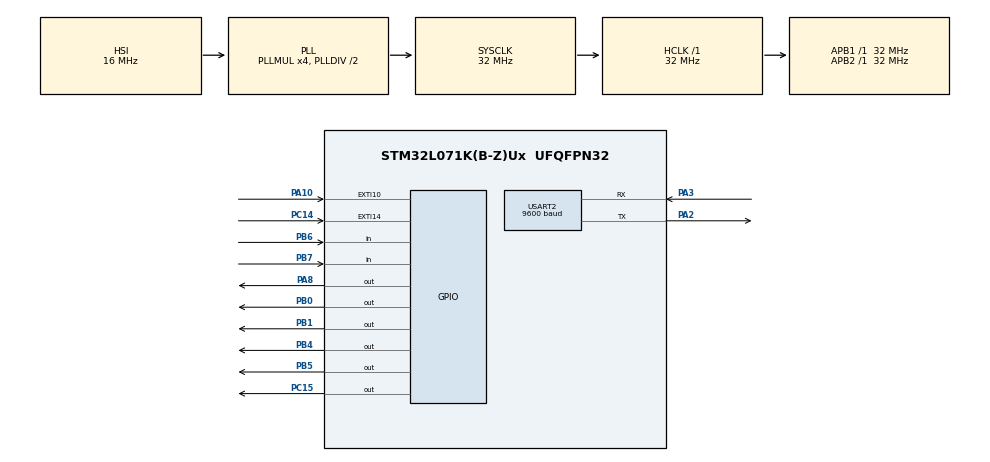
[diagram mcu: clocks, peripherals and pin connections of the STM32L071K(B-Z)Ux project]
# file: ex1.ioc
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Dma.MEMTOMEM.0.Direction=DMA_MEMORY_TO_MEMORY
Dma.MEMTOMEM.0.Instance=DMA1_Channel1
Dma.MEMTOMEM.0.MemDataAlignment=DMA_MDATAALIGN_BYTE
Dma.MEMTOMEM.0.MemInc=DMA_MINC_ENABLE
Dma.MEMTOMEM.0.Mode=DMA_NORMAL
Dma.MEMTOMEM.0.PeriphDataAlignment=DMA_PDATAALIGN_BYTE
Dma.MEMTOMEM.0.PeriphInc=DMA_PINC_ENABLE
Dma.MEMTOMEM.0.Priority=DMA_PRIORITY_LOW
Dma.Request0=MEMTOMEM
Dma.Request1=USART2_RX
Dma.USART2_RX.1.Direction=DMA_PERIPH_TO_MEMORY
Dma.USART2_RX.1.Instance=DMA1_Channel5
Dma.USART2_RX.1.MemDataAlignment=DMA_MDATAALIGN_BYTE
Dma.USART2_RX.1.MemInc=DMA_MINC_ENABLE
Dma.USART2_RX.1.Mode=DMA_CIRCULAR
Dma.USART2_RX.1.PeriphDataAlignment=DMA_PDATAALIGN_BYTE
Dma.USART2_RX.1.PeriphInc=DMA_PINC_DISABLE
Dma.USART2_RX.1.Priority=DMA_PRIORITY_LOW
Mcu.Family=STM32L0
Mcu.Name=STM32L071K(B-Z)Ux
Mcu.Package=UFQFPN32
NVIC.DMA1_Channel1_IRQn=true\:0\:0\:false\:false\:true\:true\:true
NVIC.DMA1_Channel4_5_6_7_IRQn=true\:0\:0\:false\:false\:true\:false\:true
NVIC.EXTI4_15_IRQn=true\:0\:0\:false\:false\:true\:true\:true
NVIC.TIM6_IRQn=true\:0\:0\:false\:false\:true\:true\:true
NVIC.USART2_IRQn=true\:0\:0\:false\:false\:true\:true\:true
PA10.Signal=GPXTI10
PA13.Mode=Serial_Wire
PA13.Signal=SYS_SWDIO
PA14.Mode=Serial_Wire
PA14.Signal=SYS_SWCLK
PA2.Mode=Asynchronous
PA2.Signal=USART2_TX
PA3.Mode=Asynchronous
PA3.Signal=USART2_RX
PA8.GPIO_PuPd=GPIO_PULLDOWN
PA8.Signal=GPIO_Output
PB0.GPIO_PuPd=GPIO_PULLDOWN
PB0.Signal=GPIO_Output
PB1.GPIO_ModeDefaultOutputPP=GPIO_MODE_OUTPUT_PP
PB1.GPIO_PuPd=GPIO_PULLDOWN
PB1.Signal=GPIO_Output
PB4.Signal=GPIO_Output
PB5.Signal=GPIO_Output
PB6.GPIO_PuPd=GPIO_PULLDOWN
PB6.Signal=GPIO_Input
PB7.GPIO_PuPd=GPIO_PULLDOWN
PB7.Signal=GPIO_Input
PC14-OSC32_IN.Signal=GPXTI14
PC15-OSC32_OUT.Signal=GPIO_Output
ProjectManager.HeapSize=0x200
ProjectManager.StackSize=0x400
ProjectManager.TargetToolchain=MDK-ARM V5
RCC.AHBFreq_Value=32000000
RCC.APB1Freq_Value=32000000
RCC.APB1TimFreq_Value=32000000
RCC.APB2Freq_Value=32000000
RCC.APB2TimFreq_Value=32000000
RCC.HCLKFreq_Value=32000000
RCC.HSI16_VALUE=16000000
RCC.HSI_VALUE=16000000
RCC.LSE_VALUE=32768
RCC.MSI_VALUE=2097000
RCC.PLLMUL=RCC_PLLMUL_4
RCC.SYSCLKFreq_VALUE=32000000
RCC.SYSCLKSource=RCC_SYSCLKSOURCE_PLLCLK
RCC.VCOOutputFreq_Value=64000000
RTC.SynchPrediv=307
TIM6.Period=999
TIM6.Prescaler=31
USART2.BaudRate=9600
USART2.VirtualMode-Asynchronous=VM_ASYNC
VP_CRC_VS_CRC.Mode=CRC_Activate
VP_RTC_VS_RTC_Activate.Mode=RTC_Enabled
VP_RTC_VS_RTC_Calendar.Mode=RTC_Calendar
VP_TIM6_VS_ClockSourceINT.Mode=Enable_Timer
board=custom

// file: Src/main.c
/* USER CODE BEGIN Header */
/**
  ******************************************************************************
  * @file           : main.c
  * @brief          : Main program body
  ******************************************************************************
  * @attention
  *
  * <h2><center>&copy; Copyright (c) 2019 STMicroelectronics.
  * All rights reserved.</center></h2>
  *
  * This software component is licensed by ST under BSD 3-Clause license,
  * the "License"; You may not use this file except in compliance with the
  * License. You may obtain a copy of the License at:
  *                        opensource.org/licenses/BSD-3-Clause
  *
  ******************************************************************************
  */
/* USER CODE END Header */

#include "main.h"
#include "crc.h"
#include "dma.h"
#include "rtc.h"
#include "tim.h"
#include "usart.h"
#include "gpio.h"

/* USER CODE BEGIN Includes */
#include "stm32l0xx_hal.h"
#include "zm4xx_gpio.h"
#include "spi.h"
#include "timer.h"
#include "stddef.h"
#include "sx127x_lora.h"
#include "key.h"
/* USER CODE END Includes */

/* USER CODE BEGIN PTD */
#define FREQ  (433000000)
void SystemClock_Config(void);
void Hardware_Init(void);
radio_handle_t  handle;
int ret = RADIO_RET_OK;

	uint16_t len = 0;
	uint8_t rx[200];
	uint8_t tx = 0x55;
	uint8_t cntr = 0;
	unsigned int time_100ms=1,time_500ms=1;
	unsigned int lora_flag=2,send_allow=1;
	char lcdLine_1st_line[16];
  char lcdLine_2st_line[16];
	unsigned int x1=0,x2=0;
/* USER CODE END PTD */

/* USER CODE BEGIN PD */
//ret = radio_buf_recv(handle, &rx, &len);
//			if(ret == RADIO_RET_OK){
//				if(rx == 0xAA){
//						HAL_GPIO_TogglePin(GPIOC, GPIO_PIN_15);
//				}
//			}
//
//			if(++cntr == 40){
//				radio_buf_send(handle, &tx, 1); 	//
//				radio_mode_set(handle, RX_MODE);
//				cntr = 0;
//			}
/* USER CODE END PD */

void SystemClock_Config(void);

/* USER CODE BEGIN 0 */
void Task_BrdInit(void)
{
    HAL_GPIO_WritePin(GPIOC, GPIO_PIN_15, GPIO_PIN_SET);

    OLED_PowerControl(ENABLE);

    HAL_Delay(200);
    OLED_Init();
    OLED_Clear();

    OLED_ShowString(0, 0, (unsigned char *)"                ", 16);
    OLED_ShowString(0, 2, (unsigned char *)"                ", 16);
}
void LoRa_Init(void)
{

	handle = radio_zm4xx_inst_init(spi_recv_byte,spi_send_byte,zm4xx_rst_pin_set,zm4xx_sel_pin_set,delay_ms,delay_us);

	if(handle != NULL){
		if(RADIO_RET_OK == radio_freq_set(handle, FREQ)){
				HAL_GPIO_WritePin(GPIOC, GPIO_PIN_15,GPIO_PIN_RESET);
		}

		radio_mode_set(handle, RX_MODE);	//Receive Mode
	}
}
void key(void);
void terminal(void);
/* USER CODE END 0 */

int main(void)
{

  /* MCU Configuration--------------------------------------------------------*/

  /* Reset of all peripherals, Initializes the Flash interface and the Systick. */
  HAL_Init();

  /* Configure the system clock */
  SystemClock_Config();

  /* Initialize all configured peripherals */
  MX_GPIO_Init();
  MX_DMA_Init();
  MX_CRC_Init();
  MX_USART2_UART_Init();
  MX_RTC_Init();
  MX_TIM6_Init();
  /* USER CODE BEGIN 2 */
    Task_BrdInit();
		zm4xx_pin_init(); //LORA��Ҫ
    spi_init();//LORA��Ҫ
		LoRa_Init();
		HAL_TIM_Base_Start_IT(&htim6);
		sprintf(lcdLine_1st_line, "GXCT IOT       ");
		sprintf(lcdLine_2st_line, "Hello World    ");
  /* USER CODE END 2 */

  /* Infinite loop */
    while (1)
    {

    /* USER CODE BEGIN 3 */
			if(time_100ms==1)
			{
				OLED_ShowString(x1, 0, (unsigned char *)lcdLine_1st_line, 16);
				OLED_ShowString(x2, 2, (unsigned char *)lcdLine_2st_line, 16);
				time_100ms=0;
			}
			key();
			terminal();
    }
  /* USER CODE END 3 */
}
/* USER CODE BEGIN 4 */
void terminal()
{
	float a3;
	unsigned int a1,a2;
	if(lora_flag==1)
	{
		lora_flag=0;
		if(rx[0]=='1')
		{
			sscanf((char *)rx,"1-%f-",&a3);
			sprintf(lcdLine_1st_line, "Temperature");
			sprintf(lcdLine_2st_line, "%.1f",a3);
			x1=24;
			x2=48;
		}
		if(rx[0]=='2')
		{
			sscanf((char *)rx,"2-%2d-%2d-",&a1,&a2);
			sprintf(lcdLine_1st_line, "Tmax:%d",a1);
			sprintf(lcdLine_2st_line, "Tmin:%d",a2);
			x1=32;
			x2=32;
		}
		if(rx[0]=='3')
		{
			sscanf((char *)rx,"3-%d-",&a1);
			sprintf(lcdLine_1st_line, "K1 Status");
			sprintf(lcdLine_2st_line, "%d",a1);
			x1=32;
			x2=64;
		}
		if(rx[0]=='4')
		{
			sscanf((char *)rx,"4-%d-",&a1);
			sprintf(lcdLine_1st_line, "K2 Status");
			sprintf(lcdLine_2st_line, "%d",a1);
			x1=32;
			x2=64;
		}
		for(unsigned int i=0;i<20;i++)
			rx[i]=0;
	}
}
void key()
{
	char send[20];
//	sprintf(lcdLine_2st_line, "%d",key_flag);
	if(key_flag!=0)
	{
		send_allow=0;
		sprintf(send, "%d",key_flag);
		radio_buf_send(handle, (unsigned char *)send, 2);
		radio_mode_set(handle, RX_MODE);
		key_flag=0;
		send_allow=1;
	}
}
void HAL_TIM_PeriodElapsedCallback(TIM_HandleTypeDef *htim)
{
	static unsigned int a1=0,a2=0,a3=0;
	if(htim->Instance==TIM6)
	{
		a1++;
		a2++;
		a3++;
		if(a1==100)
		{
			time_100ms=!time_100ms;
			a1=0;
		}
		if(a2==800)
		{
			time_500ms=!time_500ms;
			a2=0;
		}
		if(a3==10)
		{
			a3=0;
			key_scan();
		}
	}
}
void HAL_GPIO_EXTI_Callback(uint16_t GPIO_Pin)
{
	if(GPIO_Pin==GPIO_PIN_10)
	{
		if(send_allow==1)
		{
			ret = radio_buf_recv(handle, rx, &len);
			lora_flag=1;
		}
	}
}
/* USER CODE END 4 */
void SystemClock_Config(void)
{
  RCC_OscInitTypeDef RCC_OscInitStruct = {0};
  RCC_ClkInitTypeDef RCC_ClkInitStruct = {0};
  RCC_PeriphCLKInitTypeDef PeriphClkInit = {0};

  /** Configure the main internal regulator output voltage
  */
  __HAL_PWR_VOLTAGESCALING_CONFIG(PWR_REGULATOR_VOLTAGE_SCALE1);
  /** Initializes the CPU, AHB and APB busses clocks
  */
  RCC_OscInitStruct.OscillatorType = RCC_OSCILLATORTYPE_HSI|RCC_OSCILLATORTYPE_LSI;
  RCC_OscInitStruct.HSIState = RCC_HSI_ON;
  RCC_OscInitStruct.HSICalibrationValue = RCC_HSICALIBRATION_DEFAULT;
  RCC_OscInitStruct.LSIState = RCC_LSI_ON;
  RCC_OscInitStruct.PLL.PLLState = RCC_PLL_ON;
  RCC_OscInitStruct.PLL.PLLSource = RCC_PLLSOURCE_HSI;
  RCC_OscInitStruct.PLL.PLLMUL = RCC_PLLMUL_4;
  RCC_OscInitStruct.PLL.PLLDIV = RCC_PLLDIV_2;
  if (HAL_RCC_OscConfig(&RCC_OscInitStruct) != HAL_OK)
  {
    Error_Handler();
  }
  /** Initializes the CPU, AHB and APB busses clocks
  */
  RCC_ClkInitStruct.ClockType = RCC_CLOCKTYPE_HCLK|RCC_CLOCKTYPE_SYSCLK
                              |RCC_CLOCKTYPE_PCLK1|RCC_CLOCKTYPE_PCLK2;
  RCC_ClkInitStruct.SYSCLKSource = RCC_SYSCLKSOURCE_PLLCLK;
  RCC_ClkInitStruct.AHBCLKDivider = RCC_SYSCLK_DIV1;
  RCC_ClkInitStruct.APB1CLKDivider = RCC_HCLK_DIV1;
  RCC_ClkInitStruct.APB2CLKDivider = RCC_HCLK_DIV1;

  if (HAL_RCC_ClockConfig(&RCC_ClkInitStruct, FLASH_LATENCY_1) != HAL_OK)
  {
    Error_Handler();
  }
  PeriphClkInit.PeriphClockSelection = RCC_PERIPHCLK_USART2|RCC_PERIPHCLK_RTC;
  PeriphClkInit.Usart2ClockSelection = RCC_USART2CLKSOURCE_PCLK1;
  PeriphClkInit.RTCClockSelection = RCC_RTCCLKSOURCE_LSI;
  if (HAL_RCCEx_PeriphCLKConfig(&PeriphClkInit) != HAL_OK)
  {
    Error_Handler();
  }
}

void Error_Handler(void)
{
}

/************************ (C) COPYRIGHT STMicroelectronics *****END OF FILE****/
